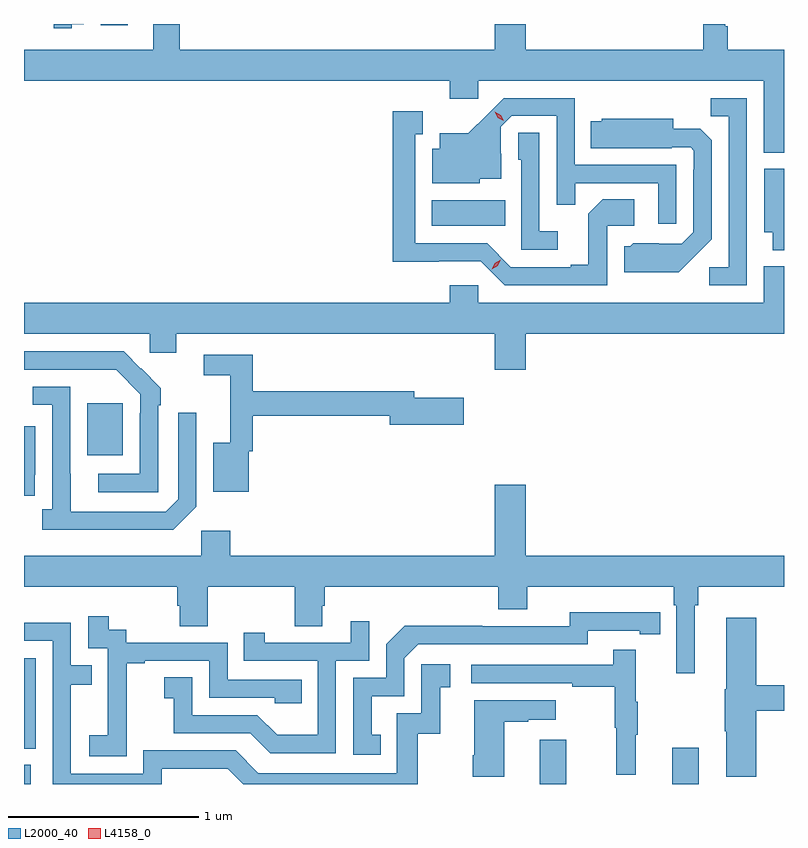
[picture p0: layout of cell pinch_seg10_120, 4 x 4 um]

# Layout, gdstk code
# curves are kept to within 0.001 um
import gdstk
lib = gdstk.Library(unit=1e-6, precision=1e-09)
def R(c, l, rs):  # rectangles x0, y0, x1, y1
    for r in rs: c.add(gdstk.rectangle(r[:2], r[2:], *l))
def P(c, l, *ps):  # polygons
    for p in ps: c.add(gdstk.Polygon(p, *l))
L2000_40 = (2000, 40)
L4158_0 = (4158, 0)

pinch_seg10_120 = lib.new_cell('pinch_seg10_120')
R(pinch_seg10_120, L2000_40, [(713.978,1272.639,714.013,1272.74), (716.693,1272.639,716.833,1272.871), (717.389,1272.639,717.529,1272.829), (713.978,1272.825,714.039,1273.302), (714.311,1274.369,714.499,1274.644), (716.123,1275.578,716.51,1275.712), (714.383,1276.632,714.523,1276.639)])
P(pinch_seg10_120, L2000_40, [(714.228,1276.637),(714.292,1276.637),(714.292,1276.639),(714.134,1276.639),(714.134,1276.616),(714.228,1276.616)],
  [(717.978,1276.504),(717.682,1276.504),(717.682,1276.628),(717.67,1276.628),(717.67,1276.639),(717.553,1276.639),(717.553,1276.504),(716.62,1276.504),(716.62,1276.639),(716.456,1276.639),(716.456,1276.504),(714.799,1276.504),(714.799,1276.639),(714.659,1276.639),(714.659,1276.504),(713.978,1276.504),(713.978,1276.34),(716.219,1276.34),(716.219,1276.245),(716.37,1276.245),(716.37,1276.34),(717.872,1276.34),(717.872,1275.962),(717.978,1275.962)],
  [(717.783,1276.248),(717.592,1276.248),(717.592,1276.153),(717.687,1276.153),(717.687,1275.36),(717.585,1275.36),(717.585,1275.264),(717.783,1275.264)],
  [(717.411,1275.897),(716.877,1275.897),(716.877,1276.248),(716.504,1276.248),(716.317,1276.063),(716.165,1276.063),(716.165,1275.982),(716.126,1275.982),(716.126,1275.8),(716.376,1275.8),(716.376,1275.824),(716.491,1275.824),(716.491,1275.956),(716.487,1275.956),(716.487,1276.098),(716.544,1276.155),(716.781,1276.155),(716.781,1275.688),(716.879,1275.688),(716.879,1275.801),(717.315,1275.801),(717.315,1275.588),(717.411,1275.588)],
  [(717.048,1275.576),(717.19,1275.576),(717.19,1275.716),(717.025,1275.716),(716.949,1275.64),(716.949,1275.373),(716.855,1275.373),(716.855,1275.36),(716.541,1275.36),(716.415,1275.486),(716.038,1275.486),(716.038,1276.059),(716.077,1276.059),(716.077,1276.18),(715.92,1276.18),(715.92,1275.389),(716.382,1275.39),(716.508,1275.264),(717.048,1275.264)],
  [(717.505,1275.413),(717.597,1275.506),(717.597,1276.028),(717.538,1276.087),(717.394,1276.087),(717.394,1276.141),(717.018,1276.141),(717.018,1276.126),(716.962,1276.126),(716.962,1275.986),(717.386,1275.986),(717.386,1275.99),(717.486,1275.99),(717.504,1275.972),(717.504,1275.872),(717.501,1275.872),(717.501,1275.543),(717.441,1275.483),(717.184,1275.484),(717.168,1275.468),(717.137,1275.468),(717.137,1275.332),(717.425,1275.332)],
  [(716.788,1275.547),(716.691,1275.547),(716.691,1276.067),(716.58,1276.067),(716.58,1275.924),(716.595,1275.924),(716.595,1275.45),(716.788,1275.45)],
  [(717.978,1275.877),(717.875,1275.877),(717.875,1275.542),(717.92,1275.542),(717.92,1275.449),(717.978,1275.449)],
  [(716.62,1275.008),(717.978,1275.008),(717.978,1275.364),(717.872,1275.364),(717.872,1275.172),(716.37,1275.172),(716.37,1275.265),(716.219,1275.265),(716.219,1275.172),(713.978,1275.172),(713.978,1275.008),(714.639,1275.008),(714.639,1274.91),(714.778,1274.91),(714.778,1275.008),(716.456,1275.008),(716.456,1274.82),(716.62,1274.82)],
  [(714.684,1274.633),(714.699,1274.633),(714.699,1274.721),(714.502,1274.916),(713.978,1274.916),(713.978,1274.82),(714.463,1274.82),(714.591,1274.691),(714.591,1274.591),(714.588,1274.591),(714.588,1274.271),(714.369,1274.271),(714.369,1274.175),(714.684,1274.175)],
  [(715.162,1274.391),(715.181,1274.391),(715.181,1274.578),(715.904,1274.578),(715.904,1274.531),(716.293,1274.531),(716.293,1274.673),(716.032,1274.673),(716.032,1274.707),(715.181,1274.707),(715.181,1274.898),(714.924,1274.898),(714.924,1274.79),(715.064,1274.79),(715.064,1274.434),(714.974,1274.434),(714.974,1274.177),(715.162,1274.177)],
  [(714.885,1274.097),(714.885,1274.593),(714.789,1274.593),(714.789,1274.139),(714.723,1274.073),(714.223,1274.073),(714.222,1274.73),(714.024,1274.73),(714.024,1274.634),(714.126,1274.634),(714.126,1274.086),(714.075,1274.086),(714.075,1273.976),(714.764,1273.976)],
  [(714.035,1274.266),(714.036,1274.266),(714.036,1274.521),(713.978,1274.521),(713.978,1274.157),(714.035,1274.157)],
  [(717.508,1273.58),(717.527,1273.58),(717.527,1273.676),(717.978,1273.676),(717.978,1273.84),(716.62,1273.84),(716.62,1274.215),(716.456,1274.215),(716.456,1273.84),(715.064,1273.84),(715.064,1273.972),(714.912,1273.972),(714.912,1273.84),(713.978,1273.84),(713.978,1273.676),(714.785,1273.676),(714.785,1273.578),(714.797,1273.578),(714.797,1273.468),(714.945,1273.468),(714.945,1273.676),(715.402,1273.676),(715.402,1273.468),(715.549,1273.468),(715.549,1273.578),(715.562,1273.578),(715.562,1273.676),(716.474,1273.676),(716.474,1273.559),(716.626,1273.559),(716.626,1273.676),(717.398,1273.676),(717.398,1273.58),(717.411,1273.58),(717.411,1273.221),(717.508,1273.221)],
  [(715.856,1272.897),(715.807,1272.897),(715.807,1273.101),(715.98,1273.101),(715.98,1273.302),(716.052,1273.374),(716.946,1273.374),(716.946,1273.446),(717.218,1273.446),(717.218,1273.426),(717.326,1273.426),(717.326,1273.542),(716.85,1273.543),(716.85,1273.47),(716.39,1273.47),(716.39,1273.472),(715.982,1273.472),(715.884,1273.374),(715.884,1273.197),(715.71,1273.197),(715.71,1272.792),(715.856,1272.792)],
  [(714.519,1272.991),(714.518,1272.991),(714.518,1273.275),(714.613,1273.275),(714.613,1273.287),(714.954,1273.287),(714.954,1273.092),(715.299,1273.092),(715.299,1273.065),(715.439,1273.065),(715.439,1273.188),(715.05,1273.188),(715.05,1273.383),(714.516,1273.383),(714.516,1273.452),(714.424,1273.452),(714.424,1273.522),(714.315,1273.522),(714.315,1273.353),(714.42,1273.353),(714.42,1273.124),(714.419,1273.124),(714.419,1272.895),(714.321,1272.895),(714.321,1272.785),(714.519,1272.785)],
  [(717.833,1273.024),(717.978,1273.024),(717.978,1273.16),(717.833,1273.16),(717.833,1273.513),(717.674,1273.513),(717.674,1273.137),(717.667,1273.137),(717.667,1272.916),(717.674,1272.916),(717.674,1272.678),(717.833,1272.678)],
  [(715.62,1273.287),(715.794,1273.287),(715.794,1273.495),(715.697,1273.495),(715.697,1273.383),(715.246,1273.383),(715.246,1273.435),(715.135,1273.435),(715.135,1273.287),(715.524,1273.287),(715.524,1272.898),(715.31,1272.898),(715.206,1273.002),(714.864,1273.002),(714.864,1273.201),(714.717,1273.201),(714.717,1273.091),(714.766,1273.091),(714.766,1272.906),(715.169,1272.906),(715.274,1272.801),(715.62,1272.801)],
  [(714.703,1272.72),(715.05,1272.72),(715.131,1272.639),(716.05,1272.639),(716.05,1272.903),(716.168,1272.903),(716.168,1273.149),(716.221,1273.149),(716.221,1273.27),(716.07,1273.27),(716.07,1273.011),(715.941,1273.011),(715.941,1272.696),(715.212,1272.696),(715.092,1272.816),(714.606,1272.816),(714.606,1272.693),(714.225,1272.693),(714.225,1273.162),(714.335,1273.162),(714.335,1273.263),(714.225,1273.263),(714.225,1273.488),(713.978,1273.488),(713.978,1273.392),(714.129,1273.392),(714.129,1272.639),(714.703,1272.639)],
  [(717.197,1272.899),(717.208,1272.899),(717.208,1273.073),(717.197,1273.073),(717.197,1273.345),(717.079,1273.345),(717.079,1273.266),(716.331,1273.266),(716.331,1273.17),(716.863,1273.17),(716.863,1273.15),(717.087,1273.15),(717.087,1272.936),(717.094,1272.936),(717.094,1272.687),(717.197,1272.687)],
  [(716.506,1272.967),(716.633,1272.967),(716.633,1272.977),(716.776,1272.977),(716.776,1273.081),(716.348,1273.081),(716.348,1272.79),(716.341,1272.79),(716.341,1272.678),(716.506,1272.678)])
P(pinch_seg10_120, L4158_0, [(716.502,1276.13),(716.472,1276.146),(716.456,1276.176),(716.456,1276.176),(716.456,1276.176),(716.486,1276.16),(716.503,1276.131),(716.503,1276.13)],
  [(716.439,1275.348),(716.439,1275.348),(716.456,1275.38),(716.488,1275.399),(716.488,1275.399),(716.488,1275.399),(716.471,1275.366),(716.439,1275.348)])

lib.write_gds('pinch_seg10_120.gds')
